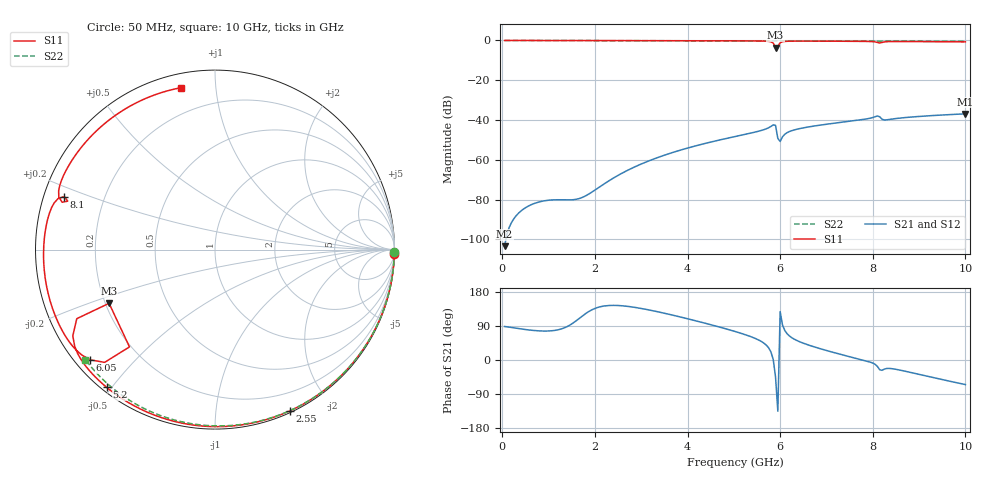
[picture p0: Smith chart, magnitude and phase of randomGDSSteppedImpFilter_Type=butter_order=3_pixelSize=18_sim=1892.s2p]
! freq	dB(S11)	phase(S11)	dB(S12)	phase(S12)
!  dB(S21)	phase(S21)	dB(S22)	phase(S22)
!S-par simulation data
#  GHz  S  DB  R 50
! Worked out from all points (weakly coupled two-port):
!   200 points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, 50 MHz to 10 GHz, reference 50 ohm
!   highest |S21| = -36.88 dB at 10 GHz (marker M1); lowest = -103.4 dB at 50 MHz (marker M2)
!   lowest |S11| = -3.6 dB at 5.9 GHz (marker M3), VSWR 4.91, Z = 10.7 - j11.4 ohm
!   |S11| at or under -10 dB: nowhere
!   |S22| runs from -0.5 to 0.0 dB; largest |S21 - S12| = 0
!   S11 on the Smith chart (normalised r, x): 50 MHz: 1, -85; 2.55 GHz: 0.02, -1.56; 5.2 GHz: 0.01, -0.49; 6.05 GHz: 0.04, -0.38; 8.1 GHz: 0.06, +0.17; 10 GHz: 0.07, +0.81
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0.05  -0.00 -1.3  -103.38 88.4  -103.38 88.4  -0.00 -0.8
0.85  -0.03 -22.3  -80.84 76.5  -80.84 76.5  -0.02 -13.7
1.75  -0.06 -45.3  -78.66 118.1  -78.66 118.1  -0.04 -27.9
2.55  -0.08 -65.2  -67.15 143.4  -67.15 143.4  -0.05 -40.3
3.4  -0.11 -85.7  -58.47 126.2  -58.47 126.2  -0.07 -53.1
5.05  -0.20 -124.5  -48.17 74.4  -48.17 74.4  -0.12 -76.7
5.2  -0.21 -128.2  -47.41 68.7  -47.41 68.7  -0.12 -78.8
5.6  -0.28 -139.2  -45.18 48.5  -45.18 48.5  -0.14 -84.2
5.8  -0.66 -148.8  -43.23 21.6  -43.23 21.6  -0.15 -86.9
5.85  -1.30 -153.4  -42.43 1.7  -42.43 1.7  -0.15 -87.6
5.9  -3.59 -153.1  -42.66 -44.4  -42.66 -44.4  -0.15 -88.3
5.95  -2.83 -131.3  -49.23 -135.2  -49.23 -135.2  -0.16 -88.9
6  -1.12 -134.4  -50.77 127.7  -50.77 127.7  -0.16 -89.6
6.05  -0.65 -138.6  -48.44 92.8  -48.44 92.8  -0.16 -90.3
6.25  -0.35 -147.6  -45.34 58.9  -45.34 58.9  -0.17 -92.9
6.7  -0.33 -160.2  -43.12 36.0  -43.12 36.0  -0.19 -98.8
7.6  -0.42 176.1  -40.33 5.5  -40.33 5.5  -0.25 -110.2
8.1  -1.01 160.6  -37.95 -17.0  -37.95 -17.0  -0.28 -116.5
8.2  -1.00 162.8  -39.58 -27.2  -39.58 -27.2  -0.29 -117.7
8.35  -0.58 157.6  -39.71 -22.2  -39.71 -22.2  -0.31 -119.6
9.15  -0.60 131.6  -37.95 -42.1  -37.95 -42.1  -0.38 -129.4
10  -0.71 101.7  -36.88 -64.9  -36.88 -64.9  -0.47 -139.7
